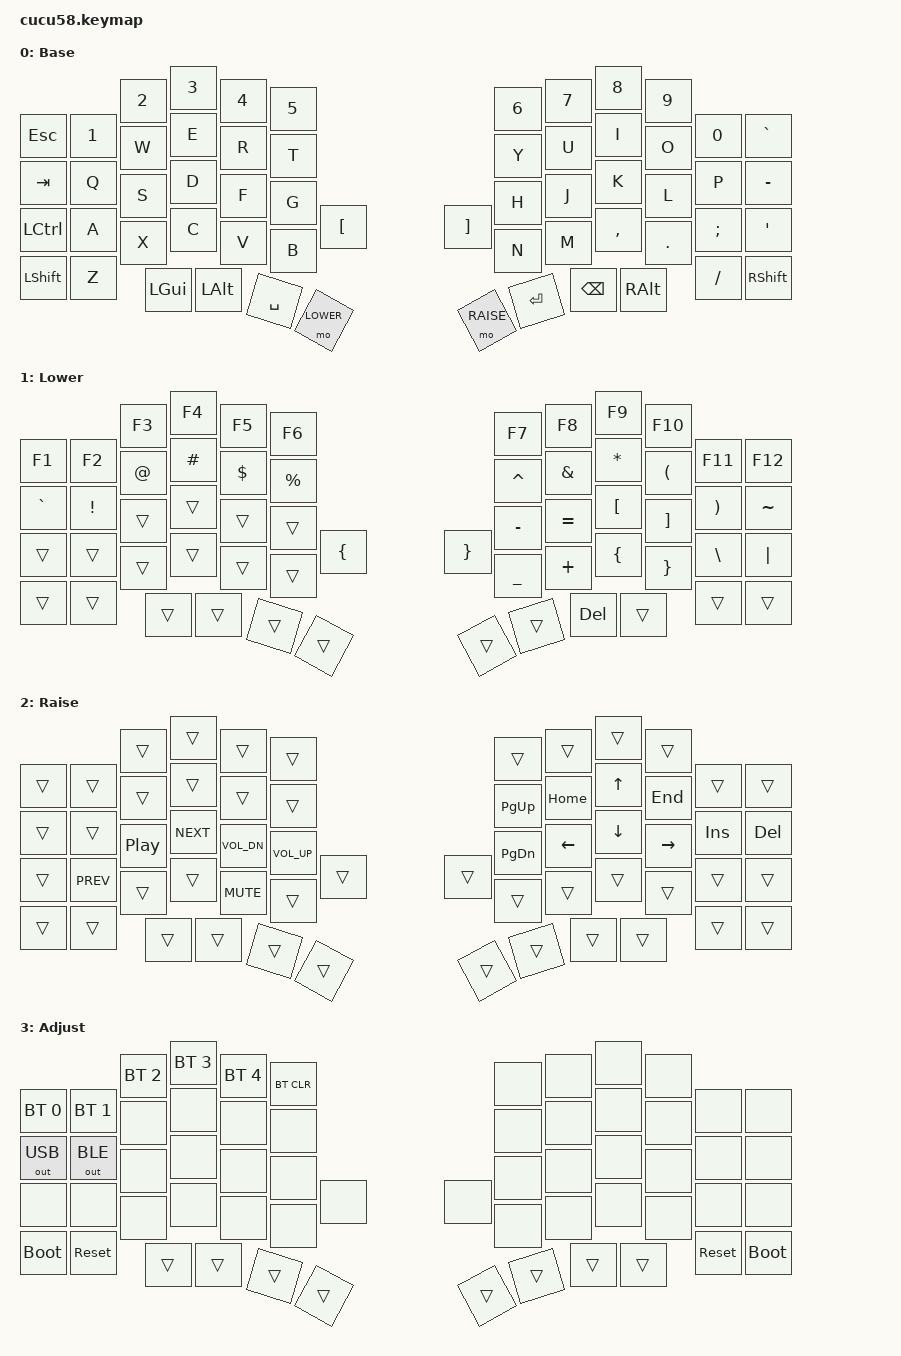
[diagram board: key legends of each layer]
/*
 * Cucu58 keymap: what every key does. This is the file you edit most.
 *
 * Each layer lists the 58 keys in the same order as the matrix transform in
 * boards/shields/cucu58/cucu58.dtsi:
 *   4 rows of 12 (left outer -> inner, then right inner -> outer), then the 10 thumb keys
 *   (left: super inny middy reachy extra | right: extra reachy middy inny super).
 * thumb_extra is the key right of the inner column, between the home and bottom rows.
 *
 * Common behaviors:
 *   &kp X       press key X (names: https://zmk.dev/docs/keymaps/list-of-keycodes)
 *   &mo N       layer N while held
 *   &trans      fall through to the layer below
 *   &none       do nothing
 *   &bt ...     Bluetooth profiles; &out ... USB/Bluetooth output
 *   &bootloader enter flashing mode; &sys_reset restart (on the half that is pressed)
 * More: https://zmk.dev/docs/keymaps/behaviors
 */

#include <behaviors.dtsi>
#include <dt-bindings/zmk/keys.h>
#include <dt-bindings/zmk/bt.h>
#include <dt-bindings/zmk/outputs.h>

#define BASE   0
#define LOWER  1
#define RAISE  2
#define ADJUST 3

/ {
    // Hold LOWER and RAISE together to get the ADJUST layer.
    conditional_layers {
        compatible = "zmk,conditional-layers";
        adjust_layer {
            if-layers = <LOWER RAISE>;
            then-layer = <ADJUST>;
        };
    };

    keymap {
        compatible = "zmk,keymap";

        base_layer {
            display-name = "Base";
            // ,-----------------------------------------.             ,-----------------------------------------.
            // | ESC  |  1   |  2   |  3   |  4   |  5   |             |  6   |  7   |  8   |  9   |  0   |  `   |
            // | TAB  |  Q   |  W   |  E   |  R   |  T   |             |  Y   |  U   |  I   |  O   |  P   |  -   |
            // | CTRL |  A   |  S   |  D   |  F   |  G   | [         ] |  H   |  J   |  K   |  L   |  ;   |  '   |
            // | SHFT |  Z   |  X   |  C   |  V   |  B   |             |  N   |  M   |  ,   |  .   |  /   | SHFT |
            // `-------------| GUI  | ALT  | SPC  |LOWER |             |RAISE | ENT  | BSPC | ALT  | GUI  |------'
            // (thumbs: super inny middy reachy | reachy middy inny super; [ ] = thumb_extra)
            bindings = <
&kp ESC   &kp N1 &kp N2 &kp N3 &kp N4 &kp N5      &kp N6 &kp N7 &kp N8    &kp N9  &kp N0   &kp GRAVE
&kp TAB   &kp Q  &kp W  &kp E  &kp R  &kp T       &kp Y  &kp U  &kp I     &kp O   &kp P    &kp MINUS
&kp LCTRL &kp A  &kp S  &kp D  &kp F  &kp G       &kp H  &kp J  &kp K     &kp L   &kp SEMI &kp SQT
&kp LSHFT &kp Z  &kp X  &kp C  &kp V  &kp B       &kp N  &kp M  &kp COMMA &kp DOT &kp FSLH &kp RSHFT
     &kp LGUI &kp LALT &kp SPACE &mo LOWER &kp LBKT    &kp RBKT &mo RAISE &kp RET &kp BSPC &kp RALT
            >;
        };

        lower_layer {
            display-name = "Lower";
            // Function keys and symbols.
            // |  F1  |  F2  |  F3  |  F4  |  F5  |  F6  |             |  F7  |  F8  |  F9  | F10  | F11  | F12  |
            // |  `   |  !   |  @   |  #   |  $   |  %   |             |  ^   |  &   |  *   |  (   |  )   |  ~   |
            // |      |      |      |      |      |      | {         } |  -   |  =   |  [   |  ]   |  \   |  |   |
            // |      |      |      |      |      |      |             |  _   |  +   |  {   |  }   |      |      |
            bindings = <
&kp F1    &kp F2   &kp F3 &kp F4   &kp F5   &kp F6       &kp F7    &kp F8    &kp F9    &kp F10  &kp F11  &kp F12
&kp GRAVE &kp EXCL &kp AT &kp HASH &kp DLLR &kp PRCNT    &kp CARET &kp AMPS  &kp ASTRK &kp LPAR &kp RPAR &kp TILDE
&trans    &trans   &trans &trans   &trans   &trans       &kp MINUS &kp EQUAL &kp LBKT  &kp RBKT &kp BSLH &kp PIPE
&trans    &trans   &trans &trans   &trans   &trans       &kp UNDER &kp PLUS  &kp LBRC  &kp RBRC &trans   &trans
     &trans &trans &trans &trans &kp LBRC                &kp RBRC &trans &trans &kp DEL &trans
            >;
        };

        raise_layer {
            display-name = "Raise";
            // Navigation and media.
            // |      |      |      |      |      |      |             |      |      |      |      |      |      |
            // |      |      |      |      |      |      |             | PGUP | HOME |  UP  | END  | INS  | DEL  |
            // |      | PREV | PLAY | NEXT | VOL- | VOL+ |             | PGDN | LEFT | DOWN |RIGHT |      |      |
            // |      |      |      |      | MUTE |      |             |      |      |      |      |      |      |
            bindings = <
&trans &trans      &trans     &trans      &trans         &trans          &trans     &trans    &trans    &trans    &trans  &trans
&trans &trans      &trans     &trans      &trans         &trans          &kp PG_UP  &kp HOME  &kp UP    &kp END   &kp INS &kp DEL
&trans &kp C_PREV  &kp C_PP   &kp C_NEXT  &kp C_VOL_DN   &kp C_VOL_UP    &kp PG_DN  &kp LEFT  &kp DOWN  &kp RIGHT &trans  &trans
&trans &trans      &trans     &trans      &kp C_MUTE     &trans          &trans     &trans    &trans    &trans    &trans  &trans
     &trans &trans &trans &trans &trans                  &trans &trans &trans &trans &trans
            >;
        };

        adjust_layer {
            display-name = "Adjust";
            // Bluetooth, output and firmware keys (hold LOWER + RAISE).
            // BT0-BT4: pick a paired device. BTCLR: forget the current one.
            // USB/BLE: send keys over the cable or Bluetooth.
            // BOOT: flashing mode, RESET: restart. They act on the half you press them on.
            // | BT0  | BT1  | BT2  | BT3  | BT4  |BTCLR |             |      |      |      |      |      |      |
            // | USB  | BLE  |      |      |      |      |             |      |      |      |      |      |      |
            // |      |      |      |      |      |      |             |      |      |      |      |      |      |
            // | BOOT |RESET |      |      |      |      |             |      |      |      |      |RESET | BOOT |
            bindings = <
&bt BT_SEL 0 &bt BT_SEL 1 &bt BT_SEL 2 &bt BT_SEL 3 &bt BT_SEL 4 &bt BT_CLR    &none &none &none &none &none      &none
&out OUT_USB &out OUT_BLE &none        &none        &none        &none         &none &none &none &none &none      &none
&none        &none        &none        &none        &none        &none         &none &none &none &none &none      &none
&bootloader  &sys_reset   &none        &none        &none        &none         &none &none &none &none &sys_reset &bootloader
     &trans &trans &trans &trans &none                           &none &trans &trans &trans &trans
            >;
        };
    };
};
